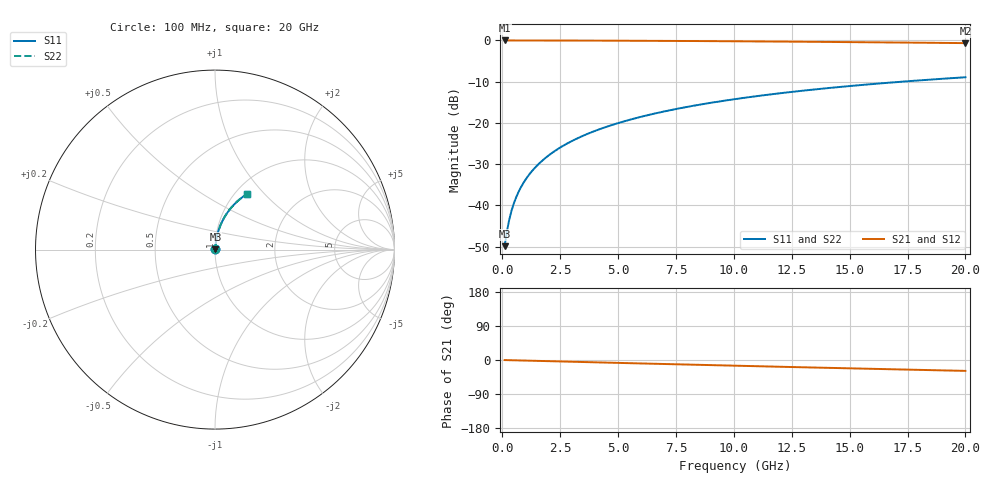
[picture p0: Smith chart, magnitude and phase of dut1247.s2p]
! Touchstone file exported from HFSS 2026.1.0
!  File:  C:/ffzhzh/LocalFiles/Ansys_Project_Files/temp_train_TMRDL_1247_1783163758_51560.aedt
!  Generated:  07:17:17 PM Jul  4, 2026
!  Design:  TMRDL
!  Project:  temp_train_TMRDL_1247_1783163758_51560
! Variables:
!  h_bsmrdl = 2um
!  h_ox = 20um
!  h_rdl = 5um
!  h_sub = 80um
!  h_tmrdl = 3.46um
!  h_tsv = 80um
!  h_via = 3um
!  l_bsmrdl = 300um
!  l_sub = 714.65um
!  l_tmrdl = 314.65um
!  m_sub = 200um
!  pitch = 58.07um
!  r_tsv = 6um
!  s_tmrdl = 10um
!  w_bsmrdl = 18um
!  w_sub = 500um
!  w_tmrdl = 14.08um
!  x_tsv_center1 = 321.69um
!  x_tsv_center2 = 639.69um
!  x_tsv_center3 = 968.42um
!  x_tsv_center4 = 1286.42um
!  x_tsv_center5 = 1615.15um
!  x_tsv_center6 = 1933.15um
# GHz S MA R 50.000000
! Terminal data exported
! Port[1] = TM_RDL1_1_T1
! Port[2] = TM_RDL1_1_T2
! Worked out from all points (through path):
!   200 points, 100 MHz to 20 GHz, reference 50 ohm
!   highest |S21| = -0.02 dB at 100 MHz (marker M1); lowest = -0.7 dB at 20 GHz (marker M2)
!   group delay of S21, straight-line fit = 3.99 ps
!   lowest |S11| = -49.9 dB at 100 MHz (marker M3), VSWR 1.01, Z = 50.2 + j0.209 ohm
!   |S11| at or under -10 dB: start of sweep to 17.29 GHz
!   |S22| runs from -49.9 to -8.9 dB; largest |S21 - S12| = 5.1e-15
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0.1  0.003204 40.4  0.9976 -0.2  0.9976 -0.2  0.003204 40.4
! Gamma 0 0 0 0
! Port Impedance 50 0 50 0
0.2  0.004835 59.0  0.9975 -0.3  0.9975 -0.3  0.004835 59.0
0.3  0.0067 67.4  0.9975 -0.5  0.9975 -0.5  0.0067 67.4
0.4  0.008633 72.0  0.9974 -0.6  0.9974 -0.6  0.008633 72.0
0.5  0.01059 74.9  0.9973 -0.8  0.9973 -0.8  0.01059 74.9
0.6  0.01255 76.8  0.9973 -0.9  0.9973 -0.9  0.01255 76.8
0.8  0.01649 79.2  0.9971 -1.2  0.9971 -1.2  0.01649 79.2
1.1  0.02243 81.1  0.9969 -1.7  0.9969 -1.7  0.02243 81.1
1.5  0.03037 82.2  0.9966 -2.3  0.9966 -2.3  0.03037 82.2
1.8  0.03633 82.6  0.9964 -2.8  0.9964 -2.8  0.03633 82.6
2.1  0.0423 82.7  0.9961 -3.2  0.9961 -3.2  0.0423 82.7
2.7  0.05421 82.5  0.9954 -4.1  0.9954 -4.1  0.05421 82.5
3.5  0.07003 81.9  0.9942 -5.4  0.9942 -5.4  0.07003 81.9
4.2  0.08378 81.1  0.9929 -6.4  0.9929 -6.4  0.08378 81.1
5  0.09938 80.2  0.9912 -7.6  0.9912 -7.6  0.09938 80.2
5.9  0.1168 79.0  0.989 -9.0  0.989 -9.0  0.1168 79.0
6.8  0.1339 77.8  0.9865 -10.3  0.9865 -10.3  0.1339 77.8
8.3  0.1621 75.7  0.9817 -12.5  0.9817 -12.5  0.1621 75.7
10.1  0.195 73.2  0.9751 -15.1  0.9751 -15.1  0.195 73.2
13.4  0.2528 68.7  0.9609 -19.8  0.9609 -19.8  0.2528 68.7
16.7  0.307 64.3  0.9444 -24.3  0.9444 -24.3  0.307 64.3
20  0.3572 60.0  0.9262 -28.7  0.9262 -28.7  0.3572 60.0
